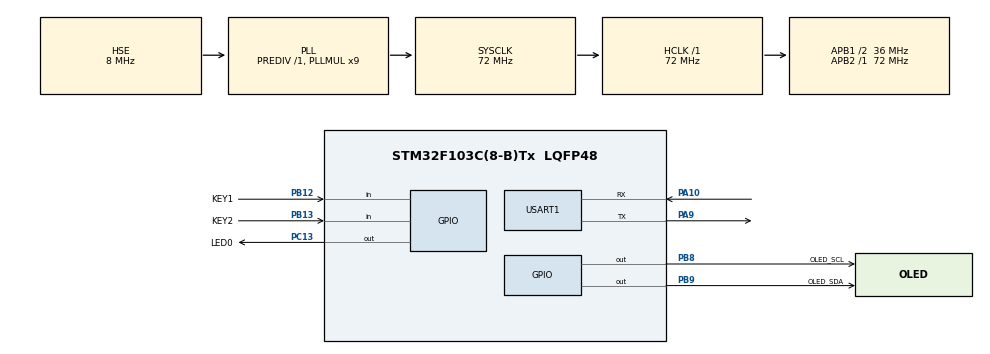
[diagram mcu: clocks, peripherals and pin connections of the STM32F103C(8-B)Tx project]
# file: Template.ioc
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Mcu.Family=STM32F1
Mcu.Name=STM32F103C(8-B)Tx
Mcu.Package=LQFP48
NVIC.PriorityGroup=NVIC_PRIORITYGROUP_2
NVIC.USART1_IRQn=true\:0\:0\:false\:false\:true\:true\:true\:true
PA10.Mode=Asynchronous
PA10.Signal=USART1_RX
PA13.Mode=Serial_Wire
PA13.Signal=SYS_JTMS-SWDIO
PA14.Mode=Serial_Wire
PA14.Signal=SYS_JTCK-SWCLK
PA9.Mode=Asynchronous
PA9.Signal=USART1_TX
PB12.GPIO_Label=KEY1
PB12.GPIO_PuPd=GPIO_PULLUP
PB12.Signal=GPIO_Input
PB13.GPIO_Label=KEY2
PB13.GPIO_PuPd=GPIO_PULLUP
PB13.Signal=GPIO_Input
PB8.GPIO_Label=OLED_SCL
PB8.GPIO_Speed=GPIO_SPEED_FREQ_HIGH
PB8.Signal=GPIO_Output
PB9.GPIO_Label=OLED_SDA
PB9.GPIO_Speed=GPIO_SPEED_FREQ_HIGH
PB9.PinState=GPIO_PIN_RESET
PB9.Signal=GPIO_Output
PC13-TAMPER-RTC.GPIO_Label=LED0
PC13-TAMPER-RTC.Signal=GPIO_Output
PC14-OSC32_IN.Mode=LSE-External-Oscillator
PC14-OSC32_IN.Signal=RCC_OSC32_IN
PC15-OSC32_OUT.Mode=LSE-External-Oscillator
PC15-OSC32_OUT.Signal=RCC_OSC32_OUT
PD0-OSC_IN.Mode=HSE-External-Oscillator
PD0-OSC_IN.Signal=RCC_OSC_IN
PD1-OSC_OUT.Mode=HSE-External-Oscillator
PD1-OSC_OUT.Signal=RCC_OSC_OUT
ProjectManager.HeapSize=0x200
ProjectManager.StackSize=0x400
ProjectManager.TargetToolchain=MDK-ARM V5.32
RCC.AHBFreq_Value=72000000
RCC.APB1CLKDivider=RCC_HCLK_DIV2
RCC.APB1Freq_Value=36000000
RCC.APB1TimFreq_Value=72000000
RCC.APB2Freq_Value=72000000
RCC.APB2TimFreq_Value=72000000
RCC.HCLKFreq_Value=72000000
RCC.PLLMUL=RCC_PLL_MUL9
RCC.PLLSourceVirtual=RCC_PLLSOURCE_HSE
RCC.SYSCLKFreq_VALUE=72000000
RCC.SYSCLKSource=RCC_SYSCLKSOURCE_PLLCLK
RCC.USBFreq_Value=72000000
USART1.VirtualMode=VM_ASYNC
board=custom

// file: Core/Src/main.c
/* USER CODE BEGIN Header */
/**
  ******************************************************************************
  * @file           : main.c
  * @brief          : Main program body
  ******************************************************************************
  * @attention
  *
  * Copyright (c) 2025 STMicroelectronics.
  * All rights reserved.
  *
  * This software is licensed under terms that can be found in the LICENSE file
  * in the root directory of this software component.
  * If no LICENSE file comes with this software, it is provided AS-IS.
  *
  ******************************************************************************
  */
/* USER CODE END Header */
#include "main.h"
#include "usart.h"
#include "gpio.h"

void SystemClock_Config(void);

/* USER CODE BEGIN 0 */
// *******************库/函数导入*******************
// 系统库
#include <stdlib.h>
#include "string.h"
#include <stdio.h>
// 自设库
#include "OLED.h"
#include "Key.h"
#include "Serial.h"
#include "PID.h"
// *******************全局变量*******************
// PID + VOFA+调试代码
//#define PID_VOFA	// 记得打开文本模式的函数哦
// 接收状态和缓冲区
extern uint8_t USART_RX_BUF[] ;
extern int DataArr[] ;
// *******************实验区域*******************
int check1 ;
int check2 ;
int check[100] ;

// 江协版 文本:
extern char Serial_RxPacket[] ;

#ifdef PID_VOFA
// 实验:PID + VOFA
Pid_Typedef PID ;
float Kp;			// 比例系数				0.7
float Ki;			// 积分系数				0.05
float Kd;			// 微分系数				0.01
float goalPoint = 5.0 ;
float setPoint ;
float realPoint ;
#endif
/* USER CODE END 0 */

int main(void)
{

  /* MCU Configuration--------------------------------------------------------*/

  /* Reset of all peripherals, Initializes the Flash interface and the Systick. */
  HAL_Init();

  /* Configure the system clock */
  SystemClock_Config();

  /* Initialize all configured peripherals */
  MX_GPIO_Init();
  MX_USART1_UART_Init();
  /* USER CODE BEGIN 2 */

	// ******************* setup *******************
	// 启动Systick时钟
	HAL_SYSTICK_Config(SystemCoreClock / 1000);
	// 初始化OLED
	OLED_Init() ;
	OLED_ShowString(0 , 0 , "Hello World" , OLED_8X16 ) ;

//  // 接收中断初始化
//	HAL_UARTEx_ReceiveToIdle_IT(&huart1, USART_RX_BUF, USART_RX_BUF_LEN);

	// 单字符接收中断初始化
	HAL_UART_Receive_IT(&huart1, USART_RX_BUF, 1);  // 每次接收1字节

	// ******************* 实验区域 *******************
	#ifdef PID_VOFA
	PID_Init(&PID , Kp , Ki , Kd , goalPoint ) ;
	#endif
  /* USER CODE END 2 */

  /* Infinite loop */
  while (1)
  {

    /* USER CODE BEGIN 3 */
		// ******************* while *******************
		// 测试按键功能
		if (Key_Check(KEY_1 , KEY_SINGLE))
		{
			HAL_GPIO_TogglePin(LED0_GPIO_Port , LED0_Pin) ;
			// 一旦数据发送失败,可以按按键检查出错原因
			printf("\r\nError : %d \r\n" , Serial_GetError() ) ;
		}

		// ******************* 实验区域 *******************
		#ifdef PID_VOFA
		realPoint = setPoint * 1.2f ;
		#endif

		// 展示接收的数据
		if (Serial_GetRxFlag() == 1)
		{
			// 自己版测试:
//			printf("\r\nDataNum: %d \r\n" , DataArr[0]) ;
//			int i ;
//			for(i = 1 ; i < 8 ; i ++)
//			{
//				printf("%d " , DataArr[i]) ;
//			}
//			printf("%d \n" , DataArr[i]) ;
			// 江协 文本版 测试
//			printf("Text \n") ;
//			if (strcmp(Serial_RxPacket, "LED_Change") == 0)
//			{
//				HAL_GPIO_TogglePin(LED0_GPIO_Port , LED0_Pin) ;
//			}
//			printf("%s\n" , Serial_RxPacket) ;
			// 江协 文本版 PID测试
				#ifdef PID_VOFA
				if ( strstr(Serial_RxPacket , "Kp") != NULL )
				{
					sscanf(Serial_RxPacket, "Kp=%f\n", &Kp);
					printf("Kp = %.2f\n" , Kp) ;
				}
				else if ( strstr(Serial_RxPacket , "Ki") != NULL )
				{
					sscanf(Serial_RxPacket, "Ki=%f", &Ki);
					printf("Ki = %.2f\n" , Ki) ;
				}
				else if ( strstr(Serial_RxPacket , "Kd") != NULL )
				{
					sscanf(Serial_RxPacket, "Kd=%f", &Kd);
					printf("Kd = %.2f\n" , Kd) ;
				}
				#endif
			// 江协 HEX 测试

		}
		// OLED显示
//		OLED_ShowHexNum(0  , 20 , DataArr[0] , 2 , OLED_6X8 ) ;
//
//		OLED_ShowNum(0  , 40 , DataArr[1] , 2 , OLED_6X8 ) ;
//		OLED_ShowNum(20 , 40 , DataArr[2] , 2 , OLED_6X8 ) ;
//		OLED_ShowNum(40 , 40 , DataArr[3] , 2 , OLED_6X8 ) ;
//		OLED_ShowNum(60 , 40 , DataArr[4] , 2 , OLED_6X8 ) ;

		// 必须存在:OLED更新
		OLED_Update() ;
  }
  /* USER CODE END 3 */
}

void SystemClock_Config(void)
{
  RCC_OscInitTypeDef RCC_OscInitStruct = {0};
  RCC_ClkInitTypeDef RCC_ClkInitStruct = {0};

  /** Initializes the RCC Oscillators according to the specified parameters
  * in the RCC_OscInitTypeDef structure.
  */
  RCC_OscInitStruct.OscillatorType = RCC_OSCILLATORTYPE_HSE;
  RCC_OscInitStruct.HSEState = RCC_HSE_ON;
  RCC_OscInitStruct.HSEPredivValue = RCC_HSE_PREDIV_DIV1;
  RCC_OscInitStruct.HSIState = RCC_HSI_ON;
  RCC_OscInitStruct.PLL.PLLState = RCC_PLL_ON;
  RCC_OscInitStruct.PLL.PLLSource = RCC_PLLSOURCE_HSE;
  RCC_OscInitStruct.PLL.PLLMUL = RCC_PLL_MUL9;
  if (HAL_RCC_OscConfig(&RCC_OscInitStruct) != HAL_OK)
  {
    Error_Handler();
  }

  /** Initializes the CPU, AHB and APB buses clocks
  */
  RCC_ClkInitStruct.ClockType = RCC_CLOCKTYPE_HCLK|RCC_CLOCKTYPE_SYSCLK
                              |RCC_CLOCKTYPE_PCLK1|RCC_CLOCKTYPE_PCLK2;
  RCC_ClkInitStruct.SYSCLKSource = RCC_SYSCLKSOURCE_PLLCLK;
  RCC_ClkInitStruct.AHBCLKDivider = RCC_SYSCLK_DIV1;
  RCC_ClkInitStruct.APB1CLKDivider = RCC_HCLK_DIV2;
  RCC_ClkInitStruct.APB2CLKDivider = RCC_HCLK_DIV1;

  if (HAL_RCC_ClockConfig(&RCC_ClkInitStruct, FLASH_LATENCY_2) != HAL_OK)
  {
    Error_Handler();
  }
}

/* USER CODE BEGIN 4 */
// Systick定时中断
void HAL_SYSTICK_Callback(void)
{
	// 计时
	static int count_sys = 0 ;
	count_sys ++ ;
	// 功能1:
	if (count_sys % 1000 == 0)
	{
//		HAL_GPIO_TogglePin(LED0_GPIO_Port , LED0_Pin ) ;
	}
	// 功能2: 按键
	Key_Tick() ;
	// 实验
	#ifdef PID_VOFA
	if (count_sys % 40 == 0)
	{
		PID_Set(&PID , Kp , Kd , Ki , goalPoint ) ;
		setPoint = PID_Cal(&PID , realPoint , -5 , 15 ) ;
		printf("%f , %f , %f \n" , goalPoint , setPoint , realPoint ) ;
	}
	#endif
}

/* USER CODE END 4 */

void Error_Handler(void)
{
  __disable_irq();
  while (1)
  {
  }
}
